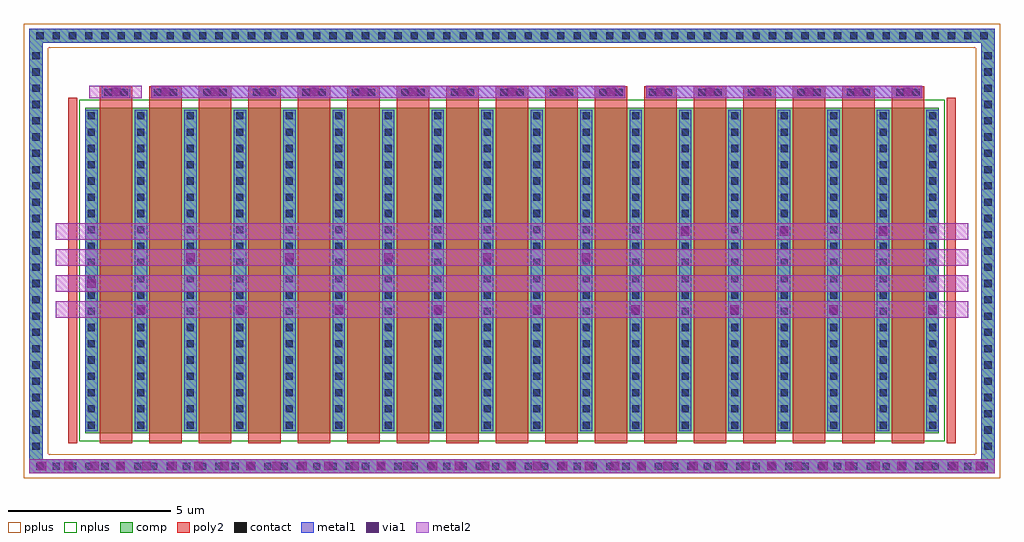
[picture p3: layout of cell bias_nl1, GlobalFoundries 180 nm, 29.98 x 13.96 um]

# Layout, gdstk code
import gdstk
lib = gdstk.Library(unit=1e-6, precision=1e-09)
def R(c, l, rs):  # rectangles x0, y0, x1, y1
    for r in rs: c.add(gdstk.rectangle(r[:2], r[2:], *l))
def A(c, l, x, y, w, h, nx, ny, dx, dy):  # array of equal rectangles
    R(c, l, [(x+i*dx, y+j*dy, x+i*dx+w, y+j*dy+h) for i in range(nx) for j in range(ny)])
comp = (22, 0)
poly2 = (30, 0)
pplus = (31, 0)
nplus = (32, 0)
contact = (33, 0)
metal1 = (34, 0)
via1 = (35, 0)
metal2 = (36, 0)

bias_nl1 = lib.new_cell('bias_nl1')
R(bias_nl1, comp, [(0,0,29.66,0.42), (0,0,0.42,13.64), (29.24,0,29.66,13.64), (1.72,1.22,27.94,11.22), (0,13.22,29.66,13.64)])
A(bias_nl1, poly2, 2.17, 0.92, 1, 10.96, 17, 1, 1.52, 0)
R(bias_nl1, poly2, [(1.2,0.92,1.48,11.52), (28.18,0.92,28.46,11.52)])
R(bias_nl1, pplus, [(-0.16,-0.16,29.82,0.58), (-0.16,-0.16,0.58,13.8), (29.08,-0.16,29.82,13.8), (-0.16,13.06,29.82,13.8)])
R(bias_nl1, nplus, [(1.54,0.98,28.12,11.46)])
A(bias_nl1, contact, 0.22, 0.1, 0.22, 0.22, 59, 2, 0.5, 13.22)
A(bias_nl1, contact, 0.1, 0.71, 0.22, 0.22, 1, 25, 0, 0.5)
A(bias_nl1, contact, 29.34, 0.71, 0.22, 0.22, 1, 25, 0, 0.5)
A(bias_nl1, contact, 1.8, 1.36, 0.22, 0.22, 18, 20, 1.52, 0.5)
R(bias_nl1, contact, [(2.31,11.59,2.53,11.81), (2.81,11.59,3.03,11.81), (3.83,11.59,4.05,11.81), (4.33,11.59,4.55,11.81), (5.35,11.59,5.57,11.81), (5.85,11.59,6.07,11.81), (6.87,11.59,7.09,11.81), (7.37,11.59,7.59,11.81), (8.39,11.59,8.61,11.81), (8.89,11.59,9.11,11.81), (9.91,11.59,10.13,11.81), (10.41,11.59,10.63,11.81), (11.43,11.59,11.65,11.81), (11.93,11.59,12.15,11.81), (12.95,11.59,13.17,11.81), (13.45,11.59,13.67,11.81), (14.47,11.59,14.69,11.81), (14.97,11.59,15.19,11.81), (15.99,11.59,16.21,11.81), (16.49,11.59,16.71,11.81), (17.51,11.59,17.73,11.81), (18.01,11.59,18.23,11.81), (19.03,11.59,19.25,11.81), (19.53,11.59,19.75,11.81), (20.55,11.59,20.77,11.81), (21.05,11.59,21.27,11.81), (22.07,11.59,22.29,11.81), (22.57,11.59,22.79,11.81), (23.59,11.59,23.81,11.81), (24.09,11.59,24.31,11.81), (25.11,11.59,25.33,11.81), (25.61,11.59,25.83,11.81), (26.63,11.59,26.85,11.81), (27.13,11.59,27.35,11.81)])
A(bias_nl1, metal1, 1.72, 1.28, 0.38, 9.88, 18, 1, 1.52, 0)
R(bias_nl1, metal1, [(0,0,29.66,0.42), (0,0,0.42,13.64), (29.24,0,29.66,13.64), (2.23,11.51,3.11,11.89), (3.75,11.51,18.31,11.89), (18.95,11.51,27.43,11.89), (0,13.22,29.66,13.64)])
A(bias_nl1, via1, 0.27, 0.08, 0.26, 0.26, 37, 1, 0.8, 0)
A(bias_nl1, via1, 3.3, 4.89, 0.26, 0.26, 9, 1, 3.04, 0)
A(bias_nl1, via1, 4.82, 6.49, 0.26, 0.26, 5, 1, 3.04, 0)
A(bias_nl1, via1, 20.02, 7.29, 0.26, 0.26, 3, 1, 3.04, 0)
A(bias_nl1, via1, 2.54, 11.57, 0.26, 0.26, 17, 1, 1.52, 0)
R(bias_nl1, via1, [(1.78,5.69,2.04,5.95)])
A(bias_nl1, metal2, 0.82, 4.77, 28.02, 0.5, 1, 4, 0, 0.8)
R(bias_nl1, metal2, [(0,0,29.66,0.42), (1.85,11.51,3.45,11.89), (3.75,11.51,18.31,11.89), (18.95,11.51,27.43,11.89)])

lib.write_gds('bias_nl1.gds')
